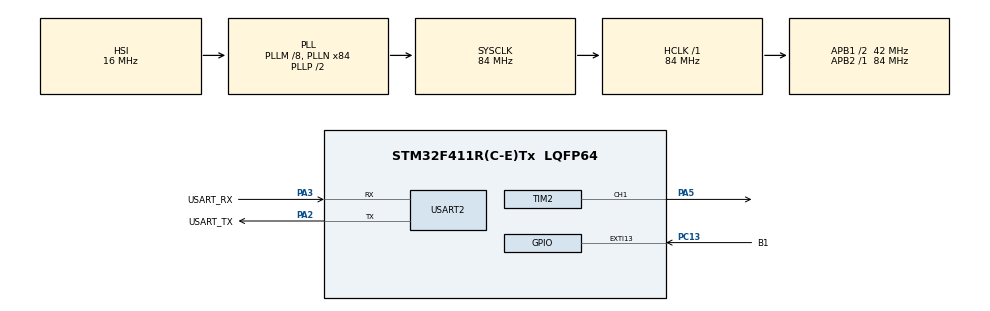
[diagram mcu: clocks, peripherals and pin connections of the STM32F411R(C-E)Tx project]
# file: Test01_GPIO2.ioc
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Mcu.Family=STM32F4
Mcu.Name=STM32F411R(C-E)Tx
Mcu.Package=LQFP64
NVIC.EXTI15_10_IRQn=true\:0\:0\:false\:false\:true\:true\:true\:true
NVIC.PriorityGroup=NVIC_PRIORITYGROUP_0
NVIC.TIM3_IRQn=true\:0\:0\:false\:false\:true\:true\:true\:true
PA13.GPIO_Label=TMS
PA13.Mode=Serial_Wire
PA13.Signal=SYS_JTMS-SWDIO
PA14.GPIO_Label=TCK
PA14.Mode=Serial_Wire
PA14.Signal=SYS_JTCK-SWCLK
PA2.GPIO_Label=USART_TX
PA2.Mode=Asynchronous
PA2.Signal=USART2_TX
PA3.GPIO_Label=USART_RX
PA3.Mode=Asynchronous
PA3.Signal=USART2_RX
PA5.Signal=S_TIM2_CH1_ETR
PB3.GPIO_Label=SWO
PB3.Signal=SYS_JTDO-SWO
PC13-ANTI_TAMP.GPIO_Label=B1
PC13-ANTI_TAMP.GPIO_ModeDefaultEXTI=GPIO_MODE_IT_RISING_FALLING
PC13-ANTI_TAMP.Signal=GPXTI13
PC14-OSC32_IN.Mode=LSE-External-Oscillator
PC14-OSC32_IN.Signal=RCC_OSC32_IN
PC15-OSC32_OUT.Mode=LSE-External-Oscillator
PC15-OSC32_OUT.Signal=RCC_OSC32_OUT
PH0\ -\ OSC_IN.Mode=HSE-External-Clock-Source
PH0\ -\ OSC_IN.Signal=RCC_OSC_IN
PH1\ -\ OSC_OUT.Mode=HSE-External-Clock-Source
PH1\ -\ OSC_OUT.Signal=RCC_OSC_OUT
ProjectManager.HeapSize=0x200
ProjectManager.StackSize=0x400
ProjectManager.TargetToolchain=STM32CubeIDE
RCC.48MHZClocksFreq_Value=42000000
RCC.AHBFreq_Value=84000000
RCC.APB1CLKDivider=RCC_HCLK_DIV2
RCC.APB1Freq_Value=42000000
RCC.APB1TimFreq_Value=84000000
RCC.APB2Freq_Value=84000000
RCC.APB2TimFreq_Value=84000000
RCC.CortexFreq_Value=84000000
RCC.FLatency-AdvancedSettings=FLASH_LATENCY_2
RCC.HCLKFreq_Value=84000000
RCC.HSE_VALUE=8000000
RCC.HSI_VALUE=16000000
RCC.PLLM=8
RCC.PLLN=84
RCC.SYSCLKFreq_VALUE=84000000
RCC.SYSCLKSource=RCC_SYSCLKSOURCE_PLLCLK
RCC.VCOOutputFreq_Value=168000000
SH.S_TIM2_CH1_ETR.0=TIM2_CH1,PWM Generation1 CH1
TIM2.Channel-PWM\ Generation1\ CH1=TIM_CHANNEL_1
TIM2.Period=1000-1
TIM2.Prescaler=84-1
TIM3.Period=5000-1
TIM3.Prescaler=8400-1
TIM5.Prescaler=84-1
USART2.VirtualMode=VM_ASYNC
VP_TIM2_VS_ClockSourceINT.Mode=Internal
VP_TIM3_VS_ClockSourceINT.Mode=Internal
VP_TIM5_VS_ClockSourceINT.Mode=Internal
board=NUCLEO-F411RE

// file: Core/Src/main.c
/* USER CODE BEGIN Header */
/**
  ******************************************************************************
  * @file           : main.c
  * @brief          : Main program body
  ******************************************************************************
  * @attention
  *
  * Copyright (c) 2023 STMicroelectronics.
  * All rights reserved.
  *
  * This software is licensed under terms that can be found in the LICENSE file
  * in the root directory of this software component.
  * If no LICENSE file comes with this software, it is provided AS-IS.
  *
  ******************************************************************************
  */
/* USER CODE END Header */
#include "main.h"

TIM_HandleTypeDef htim2;
TIM_HandleTypeDef htim3;
TIM_HandleTypeDef htim5;

UART_HandleTypeDef huart2;

void SystemClock_Config(void);
static void MX_GPIO_Init(void);
static void MX_USART2_UART_Init(void);
static void MX_TIM3_Init(void);
static void MX_TIM5_Init(void);
static void MX_TIM2_Init(void);

/* USER CODE BEGIN 0 */
#define STEP 10
int val = 0;
int gap = 0; //val 값에 따라 ARR까지 도달하는 단계값
int flag = 1;
void HAL_GPIO_EXTI_Callback(uint16_t GPIO_Pin)
{
	//val = HAL_GPIO_ReadPin(B1_GPIO_Port, B1_Pin);
	if(val++ > STEP) val = 0; //ARR에 도달할 때까지 10단계
	//if(r==0) val=0; else val=1;
	//if(val==0) val=1; else val=0;
	//val = !val;
	//val++;
	//if(val++ > 4) val = 0; //val 0~5
	//flag = 1;
}
int cnt = 0;
void HAL_TIM_PeriodElapsedCallback(TIM_HandleTypeDef *htim)
{
	//HAL_GPIO_TogglePin(LD2_GPIO_Port, LD2_Pin);
	//HAL_Delay(1000) //interrupt 처리루틴 안에서 딜레이를 너무 많이 주면 정상적인 동작 어려움
	//myDelay(10000);
	printf("\033[10;30H Timer3...%d\n", cnt++);
}
void myDelay(int interval) //microsecond delay, interval: microsecond
{
	//volatile int start = htim5.Instance->CNT; //volatile: 컴파일러에게 손대지 말라고 하는 명령어
	htim5.Instance->CNT = 0;
	while(1)
	{
		//volatile int cur = htim5.Instance->CNT;
		if(htim5.Instance->CNT > interval) return;
	}
}
int __io_putchar(int ch) //__io_putchar(): console output 함수(모니터, console input: keyboard)
{
	HAL_UART_Transmit(&huart2, &ch, 1, 10);
	return ch;
}
//int __io_getchar(void)

/* USER CODE END 0 */

int main(void)
{

  /* MCU Configuration--------------------------------------------------------*/

  /* Reset of all peripherals, Initializes the Flash interface and the Systick. */
  HAL_Init();

  /* Configure the system clock */
  SystemClock_Config();

  /* Initialize all configured peripherals */
  MX_GPIO_Init();
  MX_USART2_UART_Init();
  MX_TIM3_Init();
  MX_TIM5_Init();
  MX_TIM2_Init();
  /* USER CODE BEGIN 2 */

  printf("\033[1J Program started......!\r\n",0x1b); //줄바꿈 문자(\r\n)가 없을 시 터미널에 출력 안됨. //\r:CR, \n:LF

  //HAL_TIM_Base_Start_IT(&htim3);
  gap = htim2.Instance->ARR / STEP;
  HAL_TIM_Base_Start(&htim5);
  HAL_TIM_PWM_Start(&htim2, TIM_CHANNEL_1);
  /* USER CODE END 2 */

  /* Infinite loop */
  /* USER CODE BEGIN WHILE */
  int ccr = 0;
  while (1)
  {
    /* USER CODE END WHILE */

    /* USER CODE BEGIN 3 */
	  //myDelay(2000000);
	  //int r = HAL_GPIO_ReadPin(B1_GPIO_Port, B1_Pin);
	  //if(val == 0) //Button pushed (풀업저항-> 버튼이 눌렸을때 0)
//	  if(val == 0) //for(int i=0;i<val;i++)
//	  {
//		  HAL_GPIO_TogglePin(LD2_GPIO_Port, LD2_Pin);
//		  //HAL_GPIO_WritePin(LD2_GPIO_Port, LD2_Pin, 1); //LED on
//		  HAL_Delay(200); //delay 1 second
////		  HAL_GPIO_WritePin(LD2_GPIO_Port, LD2_Pin, 0); //LED off
////		  HAL_Delay(200); //delay 1 second
//		  //flag = 0;
//	  }
//	  else
//		  HAL_GPIO_WritePin(LD2_GPIO_Port, LD2_Pin, 0);
	  htim2.Instance -> CCR1 = val * gap;
	  //if(val > STEP) val=0;
	  myDelay(10000);
  }
  /* USER CODE END 3 */
}

void SystemClock_Config(void)
{
  RCC_OscInitTypeDef RCC_OscInitStruct = {0};
  RCC_ClkInitTypeDef RCC_ClkInitStruct = {0};

  /** Configure the main internal regulator output voltage
  */
  __HAL_RCC_PWR_CLK_ENABLE();
  __HAL_PWR_VOLTAGESCALING_CONFIG(PWR_REGULATOR_VOLTAGE_SCALE1);

  /** Initializes the RCC Oscillators according to the specified parameters
  * in the RCC_OscInitTypeDef structure.
  */
  RCC_OscInitStruct.OscillatorType = RCC_OSCILLATORTYPE_HSI;
  RCC_OscInitStruct.HSIState = RCC_HSI_ON;
  RCC_OscInitStruct.HSICalibrationValue = RCC_HSICALIBRATION_DEFAULT;
  RCC_OscInitStruct.PLL.PLLState = RCC_PLL_ON;
  RCC_OscInitStruct.PLL.PLLSource = RCC_PLLSOURCE_HSI;
  RCC_OscInitStruct.PLL.PLLM = 8;
  RCC_OscInitStruct.PLL.PLLN = 84;
  RCC_OscInitStruct.PLL.PLLP = RCC_PLLP_DIV2;
  RCC_OscInitStruct.PLL.PLLQ = 4;
  if (HAL_RCC_OscConfig(&RCC_OscInitStruct) != HAL_OK)
  {
    Error_Handler();
  }

  /** Initializes the CPU, AHB and APB buses clocks
  */
  RCC_ClkInitStruct.ClockType = RCC_CLOCKTYPE_HCLK|RCC_CLOCKTYPE_SYSCLK
                              |RCC_CLOCKTYPE_PCLK1|RCC_CLOCKTYPE_PCLK2;
  RCC_ClkInitStruct.SYSCLKSource = RCC_SYSCLKSOURCE_PLLCLK;
  RCC_ClkInitStruct.AHBCLKDivider = RCC_SYSCLK_DIV1;
  RCC_ClkInitStruct.APB1CLKDivider = RCC_HCLK_DIV2;
  RCC_ClkInitStruct.APB2CLKDivider = RCC_HCLK_DIV1;

  if (HAL_RCC_ClockConfig(&RCC_ClkInitStruct, FLASH_LATENCY_2) != HAL_OK)
  {
    Error_Handler();
  }
}

static void MX_TIM2_Init(void)
{

  TIM_ClockConfigTypeDef sClockSourceConfig = {0};
  TIM_MasterConfigTypeDef sMasterConfig = {0};
  TIM_OC_InitTypeDef sConfigOC = {0};

  htim2.Instance = TIM2;
  htim2.Init.Prescaler = 84-1;
  htim2.Init.CounterMode = TIM_COUNTERMODE_UP;
  htim2.Init.Period = 1000-1;
  htim2.Init.ClockDivision = TIM_CLOCKDIVISION_DIV1;
  htim2.Init.AutoReloadPreload = TIM_AUTORELOAD_PRELOAD_DISABLE;
  if (HAL_TIM_Base_Init(&htim2) != HAL_OK)
  {
    Error_Handler();
  }
  sClockSourceConfig.ClockSource = TIM_CLOCKSOURCE_INTERNAL;
  if (HAL_TIM_ConfigClockSource(&htim2, &sClockSourceConfig) != HAL_OK)
  {
    Error_Handler();
  }
  if (HAL_TIM_PWM_Init(&htim2) != HAL_OK)
  {
    Error_Handler();
  }
  sMasterConfig.MasterOutputTrigger = TIM_TRGO_RESET;
  sMasterConfig.MasterSlaveMode = TIM_MASTERSLAVEMODE_DISABLE;
  if (HAL_TIMEx_MasterConfigSynchronization(&htim2, &sMasterConfig) != HAL_OK)
  {
    Error_Handler();
  }
  sConfigOC.OCMode = TIM_OCMODE_PWM1;
  sConfigOC.Pulse = 0;
  sConfigOC.OCPolarity = TIM_OCPOLARITY_HIGH;
  sConfigOC.OCFastMode = TIM_OCFAST_DISABLE;
  if (HAL_TIM_PWM_ConfigChannel(&htim2, &sConfigOC, TIM_CHANNEL_1) != HAL_OK)
  {
    Error_Handler();
  }
  HAL_TIM_MspPostInit(&htim2);

}

static void MX_TIM3_Init(void)
{

  TIM_ClockConfigTypeDef sClockSourceConfig = {0};
  TIM_MasterConfigTypeDef sMasterConfig = {0};

  htim3.Instance = TIM3;
  htim3.Init.Prescaler = 8400-1;
  htim3.Init.CounterMode = TIM_COUNTERMODE_UP;
  htim3.Init.Period = 5000-1;
  htim3.Init.ClockDivision = TIM_CLOCKDIVISION_DIV1;
  htim3.Init.AutoReloadPreload = TIM_AUTORELOAD_PRELOAD_DISABLE;
  if (HAL_TIM_Base_Init(&htim3) != HAL_OK)
  {
    Error_Handler();
  }
  sClockSourceConfig.ClockSource = TIM_CLOCKSOURCE_INTERNAL;
  if (HAL_TIM_ConfigClockSource(&htim3, &sClockSourceConfig) != HAL_OK)
  {
    Error_Handler();
  }
  sMasterConfig.MasterOutputTrigger = TIM_TRGO_RESET;
  sMasterConfig.MasterSlaveMode = TIM_MASTERSLAVEMODE_DISABLE;
  if (HAL_TIMEx_MasterConfigSynchronization(&htim3, &sMasterConfig) != HAL_OK)
  {
    Error_Handler();
  }

}

static void MX_TIM5_Init(void)
{

  TIM_ClockConfigTypeDef sClockSourceConfig = {0};
  TIM_MasterConfigTypeDef sMasterConfig = {0};

  htim5.Instance = TIM5;
  htim5.Init.Prescaler = 84-1;
  htim5.Init.CounterMode = TIM_COUNTERMODE_UP;
  htim5.Init.Period = 4294967295;
  htim5.Init.ClockDivision = TIM_CLOCKDIVISION_DIV1;
  htim5.Init.AutoReloadPreload = TIM_AUTORELOAD_PRELOAD_DISABLE;
  if (HAL_TIM_Base_Init(&htim5) != HAL_OK)
  {
    Error_Handler();
  }
  sClockSourceConfig.ClockSource = TIM_CLOCKSOURCE_INTERNAL;
  if (HAL_TIM_ConfigClockSource(&htim5, &sClockSourceConfig) != HAL_OK)
  {
    Error_Handler();
  }
  sMasterConfig.MasterOutputTrigger = TIM_TRGO_RESET;
  sMasterConfig.MasterSlaveMode = TIM_MASTERSLAVEMODE_DISABLE;
  if (HAL_TIMEx_MasterConfigSynchronization(&htim5, &sMasterConfig) != HAL_OK)
  {
    Error_Handler();
  }

}

static void MX_USART2_UART_Init(void)
{

  huart2.Instance = USART2;
  huart2.Init.BaudRate = 115200;
  huart2.Init.WordLength = UART_WORDLENGTH_8B;
  huart2.Init.StopBits = UART_STOPBITS_1;
  huart2.Init.Parity = UART_PARITY_NONE;
  huart2.Init.Mode = UART_MODE_TX_RX;
  huart2.Init.HwFlowCtl = UART_HWCONTROL_NONE;
  huart2.Init.OverSampling = UART_OVERSAMPLING_16;
  if (HAL_UART_Init(&huart2) != HAL_OK)
  {
    Error_Handler();
  }

}

static void MX_GPIO_Init(void)
{
  GPIO_InitTypeDef GPIO_InitStruct = {0};

  /* GPIO Ports Clock Enable */
  __HAL_RCC_GPIOC_CLK_ENABLE();
  __HAL_RCC_GPIOH_CLK_ENABLE();
  __HAL_RCC_GPIOA_CLK_ENABLE();
  __HAL_RCC_GPIOB_CLK_ENABLE();

  /*Configure GPIO pin : B1_Pin */
  GPIO_InitStruct.Pin = B1_Pin;
  GPIO_InitStruct.Mode = GPIO_MODE_IT_RISING_FALLING;
  GPIO_InitStruct.Pull = GPIO_NOPULL;
  HAL_GPIO_Init(B1_GPIO_Port, &GPIO_InitStruct);

  /* EXTI interrupt init*/
  HAL_NVIC_SetPriority(EXTI15_10_IRQn, 0, 0);
  HAL_NVIC_EnableIRQ(EXTI15_10_IRQn);

}

void Error_Handler(void)
{
  __disable_irq();
  while (1)
  {
  }
}
